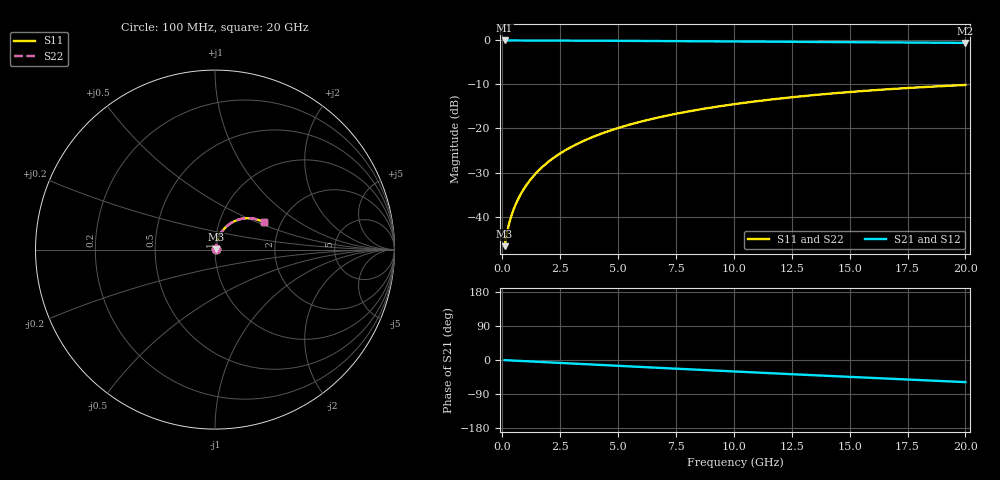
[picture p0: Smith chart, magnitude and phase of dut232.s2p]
! Touchstone file exported from HFSS 2026.1.0
!  File:  C:/ffzhzh/LocalFiles/Ansys_Project_Files/temp_train_BSMRDL_232_1782988263_41620.aedt
!  Generated:  06:32:21 PM Jul  2, 2026
!  Design:  BSMRDL
!  Project:  temp_train_BSMRDL_232_1782988263_41620
! Variables:
!  h_bsmrdl = 3.4um
!  h_ox = 20um
!  h_rdl = 5um
!  h_sub = 80um
!  h_tmrdl = 5um
!  h_tsv = 80um
!  h_via = 3um
!  l_bsmrdl = 977.56um
!  l_sub = 1377.56um
!  l_tmrdl = 200um
!  m_sub = 200um
!  pitch = 44.18um
!  r_tsv = 6um
!  s_tmrdl = 10um
!  w_bsmrdl = 29.08um
!  w_sub = 500um
!  w_tmrdl = 12um
!  x_tsv_center1 = 206um
!  x_tsv_center2 = 1212.64um
!  x_tsv_center3 = 1424.64um
!  x_tsv_center4 = 2431.28um
!  x_tsv_center5 = 2643.28um
!  x_tsv_center6 = 3649.92um
# GHz S MA R 50.000000
! Terminal data exported
! Port[1] = BSM_RDL1_1_T1
! Port[2] = BSM_RDL1_1_T2
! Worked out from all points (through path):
!   200 points, 100 MHz to 20 GHz, reference 50 ohm
!   highest |S21| = -0.03 dB at 100 MHz (marker M1); lowest = -0.6 dB at 20 GHz (marker M2)
!   group delay of S21, straight-line fit = 8.1 ps
!   lowest |S11| = -46.7 dB at 100 MHz (marker M3), VSWR 1.01, Z = 50.4 + j0.26 ohm
!   |S11| at or under -10 dB: start of sweep to end of sweep
!   |S22| runs from -46.7 to -10.1 dB; largest |S21 - S12| = 4.1e-15
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0.1  0.004615 34.0  0.9962 -0.3  0.9962 -0.3  0.004615 34.0
! Gamma 0 0 0 0
! Port Impedance 50 0 50 0
0.2  0.006496 49.4  0.9958 -0.7  0.9958 -0.7  0.006496 49.4
0.3  0.008452 56.7  0.9955 -1.0  0.9955 -1.0  0.008452 56.7
0.4  0.01036 61.2  0.9952 -1.3  0.9952 -1.3  0.01037 61.2
0.5  0.01226 64.5  0.995 -1.6  0.995 -1.6  0.01226 64.5
0.6  0.01416 67.0  0.9948 -1.9  0.9948 -1.9  0.01416 67.0
0.8  0.01802 70.4  0.9946 -2.5  0.9946 -2.5  0.01802 70.4
1.1  0.02393 73.3  0.9943 -3.4  0.9943 -3.4  0.02393 73.3
1.3  0.02793 74.4  0.9941 -4.1  0.9941 -4.1  0.02793 74.4
1.6  0.03396 75.3  0.9937 -5.0  0.9937 -5.0  0.03395 75.3
2.1  0.04404 75.6  0.9931 -6.5  0.9931 -6.5  0.04404 75.7
2.7  0.05611 75.1  0.9921 -8.4  0.9921 -8.4  0.0561 75.1
3.5  0.07202 73.6  0.9905 -10.8  0.9905 -10.8  0.07202 73.7
4.2  0.08572 72.0  0.9889 -13.0  0.9889 -13.0  0.08571 72.1
5  0.1011 70.0  0.9868 -15.4  0.9868 -15.4  0.1011 70.0
5.9  0.1179 67.6  0.9842 -18.1  0.9842 -18.1  0.1179 67.6
6.8  0.1343 65.1  0.9814 -20.8  0.9814 -20.8  0.1343 65.1
8.3  0.1604 60.9  0.9763 -25.3  0.9763 -25.3  0.1604 61.0
10.1  0.1899 55.9  0.9699 -30.5  0.9699 -30.5  0.1899 56.0
13.4  0.2383 46.7  0.9577 -40.0  0.9577 -40.0  0.2383 46.9
16.7  0.279 37.8  0.9457 -49.3  0.9457 -49.3  0.2789 38.0
20  0.3114 29.0  0.9351 -58.4  0.9351 -58.4  0.3113 29.3
